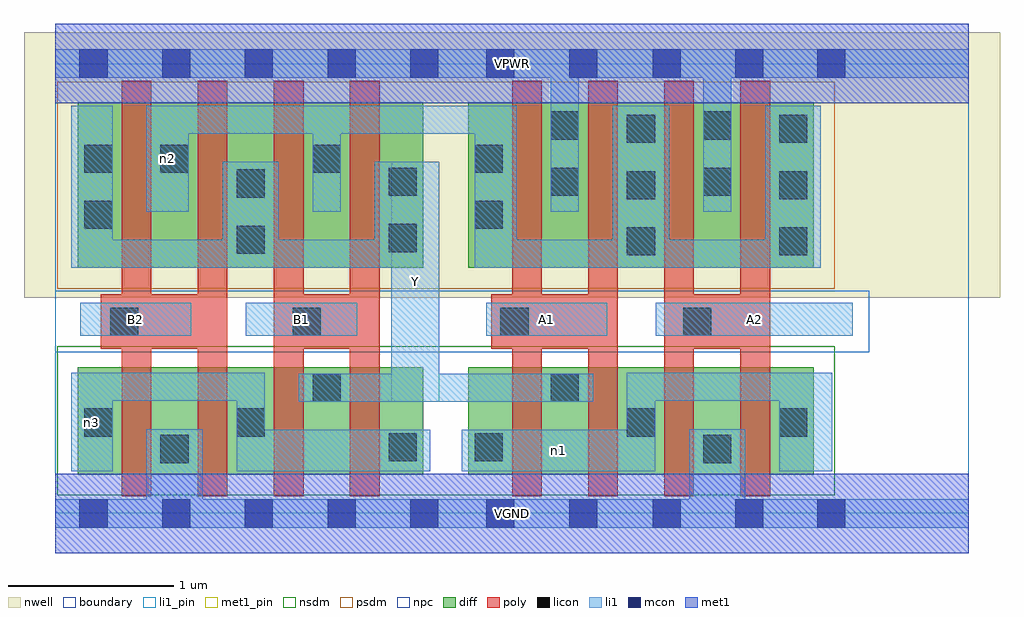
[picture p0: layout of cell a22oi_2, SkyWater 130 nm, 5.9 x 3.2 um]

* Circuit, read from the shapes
.subckt a22oi_2 A1 A2 B1 B2 VGND VPWR Y n1 n2 n3
XM1 VGND B2 n3 VSUBS sky130_fd_pr__nfet_01v8 w=0.65 l=0.18 m=2
XM2 Y B1 n3 VSUBS sky130_fd_pr__nfet_01v8 w=0.65 l=0.18 m=2
XM3 Y A1 n1 VSUBS sky130_fd_pr__nfet_01v8 w=0.65 l=0.18 m=2
XM4 VGND A2 n1 VSUBS sky130_fd_pr__nfet_01v8 w=0.65 l=0.18 m=2
XM5 n2 B2 Y n4 sky130_fd_pr__pfet_01v8 w=1 l=0.18 m=2
XM6 n2 B1 Y n4 sky130_fd_pr__pfet_01v8 w=1 l=0.18 m=2
XM7 VPWR A1 n2 n4 sky130_fd_pr__pfet_01v8 w=1 l=0.18 m=2
XM8 VPWR A2 n2 n4 sky130_fd_pr__pfet_01v8 w=1 l=0.18 m=2
.ends

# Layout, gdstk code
import gdstk
lib = gdstk.Library(unit=1e-6, precision=1e-09)
def R(c, l, rs):  # rectangles x0, y0, x1, y1
    for r in rs: c.add(gdstk.rectangle(r[:2], r[2:], *l))
def A(c, l, x, y, w, h, nx, ny, dx, dy):  # array of equal rectangles
    R(c, l, [(x+i*dx, y+j*dy, x+i*dx+w, y+j*dy+h) for i in range(nx) for j in range(ny)])
nwell = (64, 20)
diff = (65, 20)
poly = (66, 20)
licon = (66, 44)
li1_pin = (67, 16)
li1 = (67, 20)
mcon = (67, 44)
met1_pin = (68, 16)
met1 = (68, 20)
nsdm = (93, 44)
psdm = (94, 20)
npc = (95, 20)
boundary = (235, 4)

a22oi_2 = lib.new_cell('a22oi_2')
R(a22oi_2, nwell, [(-0.19,1.305,5.71,2.91), (0,1.305,5.52,2.91)])
R(a22oi_2, diff, [(0.135,0.235,2.225,0.885), (2.495,0.235,4.585,0.885), (0.135,1.485,2.225,2.485), (2.495,1.485,4.585,2.485)])
A(a22oi_2, poly, 0.4, 0.105, 0.18, 2.51, 4, 1, 0.46, 0)
A(a22oi_2, poly, 2.76, 0.105, 0.18, 2.51, 4, 1, 0.46, 0)
R(a22oi_2, poly, [(0.275,0.995,1.04,1.325), (1.32,0.995,1.96,1.325), (2.635,0.995,3.4,1.325), (3.68,0.995,4.32,1.325)])
A(a22oi_2, licon, 3.455, 1.56, 0.17, 0.17, 1, 3, 0, 0.34)
A(a22oi_2, licon, 4.375, 1.56, 0.17, 0.17, 1, 3, 0, 0.34)
R(a22oi_2, licon, [(0.635,0.305,0.805,0.475), (3.915,0.305,4.085,0.475), (2.015,0.315,2.185,0.485), (2.535,0.315,2.705,0.485), (0.175,0.465,0.345,0.635), (1.095,0.465,1.265,0.635), (3.455,0.465,3.625,0.635), (4.375,0.465,4.545,0.635), (1.555,0.675,1.725,0.845), (2.995,0.675,3.165,0.845), (0.33,1.075,0.5,1.245), (1.435,1.075,1.605,1.245), (2.69,1.075,2.86,1.245), (3.795,1.075,3.965,1.245), (1.095,1.57,1.265,1.74), (2.015,1.58,2.185,1.75), (0.175,1.72,0.345,1.89), (2.535,1.72,2.705,1.89), (1.095,1.91,1.265,2.08), (2.015,1.92,2.185,2.09), (2.995,1.92,3.165,2.09), (3.915,1.92,4.085,2.09), (0.175,2.06,0.345,2.23), (0.635,2.06,0.805,2.23), (1.555,2.06,1.725,2.23), (2.535,2.06,2.705,2.23), (2.995,2.26,3.165,2.43), (3.915,2.26,4.085,2.43)])
R(a22oi_2, li1_pin, [(2.03,0.675,2.32,2.125), (0.15,1.075,0.82,1.275), (1.15,1.075,1.825,1.275), (2.605,1.075,3.335,1.275), (3.63,1.075,4.82,1.275)])
R(a22oi_2, li1, [(0,-0.085,5.52,0.085), (0.55,-0.085,0.89,0.51), (3.83,-0.085,4.17,0.51), (0.095,0.255,0.345,0.85), (1.095,0.255,2.265,0.505), (1.095,0.255,1.265,0.85), (2.455,0.255,3.625,0.505), (3.455,0.255,3.625,0.85), (4.375,0.255,4.695,0.85), (1.47,0.675,3.25,0.845), (2.03,0.675,2.32,2.125), (0.095,0.68,1.265,0.85), (3.455,0.68,4.695,0.85), (0.15,1.075,0.82,1.275), (1.15,1.075,1.825,1.275), (2.605,1.075,3.335,1.275), (3.63,1.075,4.82,1.275), (0.095,1.485,2.32,1.655), (0.095,1.485,0.345,2.465), (1.01,1.485,1.35,2.125), (1.93,1.485,2.32,2.125), (2.535,1.485,4.625,1.655), (2.535,1.485,2.79,2.465), (3.37,1.485,3.71,2.465), (4.29,1.485,4.625,2.465), (0.55,1.825,0.805,2.465), (1.555,1.825,1.725,2.465), (2.995,1.825,3.165,2.805), (3.915,1.825,4.085,2.805), (0.55,2.295,2.79,2.465), (0,2.635,5.52,2.805)])
A(a22oi_2, mcon, 0.145, -0.085, 0.17, 0.17, 5, 2, 0.5, 2.72)
R(a22oi_2, mcon, [(2.605,-0.085,2.775,0.085), (3.105,-0.085,3.275,0.085), (3.61,-0.085,3.78,0.085), (4.11,-0.085,4.28,0.085), (4.605,-0.085,4.775,0.085), (2.605,2.635,2.775,2.805), (3.105,2.635,3.275,2.805), (3.61,2.635,3.78,2.805), (4.11,2.635,4.28,2.805), (4.605,2.635,4.775,2.805)])
R(a22oi_2, met1_pin, [(0,-0.24,5.52,0.24), (0,2.48,5.52,2.96)])
R(a22oi_2, met1, [(0,-0.24,5.52,0.24), (0,2.48,5.52,2.96)])
R(a22oi_2, nsdm, [(0.01,0.11,4.71,1.01)])
R(a22oi_2, psdm, [(0.01,1.36,4.71,2.61)])
R(a22oi_2, npc, [(0,0.975,4.92,1.345)])
R(a22oi_2, boundary, [(0,0,5.52,2.72)])
a22oi_2.add(gdstk.Label('A1', (2.97,1.175), layer=67, texttype=5))
a22oi_2.add(gdstk.Label('A2', (4.225,1.175), layer=67, texttype=5))
a22oi_2.add(gdstk.Label('B1', (1.487,1.175), layer=67, texttype=5))
a22oi_2.add(gdstk.Label('B2', (0.485,1.175), layer=67, texttype=5))
a22oi_2.add(gdstk.Label('Y', (2.175,1.4), layer=67, texttype=5))
a22oi_2.add(gdstk.Label('n3', (0.22,0.552), layer=67, texttype=5))
a22oi_2.add(gdstk.Label('n1', (3.04,0.38), layer=67, texttype=5))
a22oi_2.add(gdstk.Label('n2', (0.677,2.145), layer=67, texttype=5))
a22oi_2.add(gdstk.Label('VPWR', (2.76,2.72), layer=68, texttype=5))
a22oi_2.add(gdstk.Label('VGND', (2.76,0), layer=68, texttype=5))
a22oi_2.add(gdstk.Label('A1', (2.97,1.175), layer=67, texttype=16))
a22oi_2.add(gdstk.Label('A2', (4.225,1.175), layer=67, texttype=16))
a22oi_2.add(gdstk.Label('B1', (1.487,1.175), layer=67, texttype=16))
a22oi_2.add(gdstk.Label('B2', (0.485,1.175), layer=67, texttype=16))
a22oi_2.add(gdstk.Label('Y', (2.175,1.4), layer=67, texttype=16))
a22oi_2.add(gdstk.Label('VPWR', (2.76,2.72), layer=68, texttype=16))
a22oi_2.add(gdstk.Label('VGND', (2.76,0), layer=68, texttype=16))

lib.write_gds('a22oi_2.gds')
